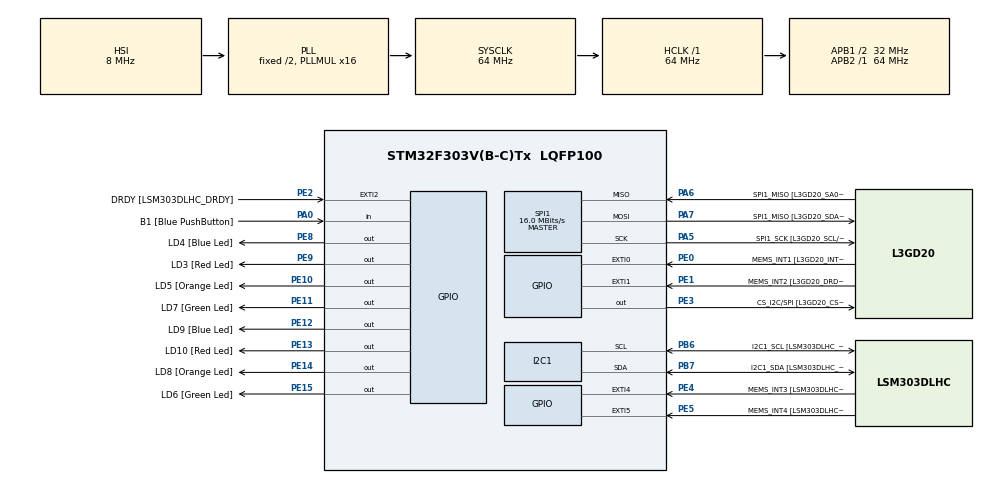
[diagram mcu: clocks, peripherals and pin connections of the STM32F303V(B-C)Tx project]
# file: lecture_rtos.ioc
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FREERTOS.Tasks01=defaultTask,0,128,StartDefaultTask,Default,NULL,Dynamic,NULL,NULL;mainTask,2,128,StartMainTask,Default,NULL,Dynamic,NULL,NULL
FREERTOS.configTOTAL_HEAP_SIZE=15360
FREERTOS.configUSE_PREEMPTION=1
I2C1.Timing-I2C=0x2000090E
Mcu.Family=STM32F3
Mcu.Name=STM32F303V(B-C)Tx
Mcu.Package=LQFP100
NVIC.PriorityGroup=NVIC_PRIORITYGROUP_4
NVIC.TIM1_TRG_COM_TIM17_IRQn=true\:0\:0\:false\:false\:true\:false\:false
NVIC.TimeBase=TIM1_TRG_COM_TIM17_IRQn
NVIC.TimeBaseIP=TIM17
PA0.GPIO_Label=B1 [Blue PushButton]
PA0.Signal=GPIO_Input
PA11.GPIO_Label=DM
PA11.Signal=USB_DM
PA12.GPIO_Label=DP
PA12.Signal=USB_DP
PA13.GPIO_Label=SWDIO
PA13.Mode=Serial_Wire
PA13.Signal=SYS_JTMS-SWDIO
PA14.GPIO_Label=SWCLK
PA14.Mode=Serial_Wire
PA14.Signal=SYS_JTCK-SWCLK
PA5.GPIO_Label=SPI1_SCK [L3GD20_SCL/SPC]
PA5.Mode=Full_Duplex_Master
PA5.Signal=SPI1_SCK
PA6.GPIO_Label=SPI1_MISO [L3GD20_SA0/SDO]
PA6.Mode=Full_Duplex_Master
PA6.Signal=SPI1_MISO
PA7.GPIO_Label=SPI1_MISO [L3GD20_SDA/SDI/SDO]
PA7.Mode=Full_Duplex_Master
PA7.Signal=SPI1_MOSI
PB3.GPIO_Label=SWO
PB3.Signal=SYS_JTDO-TRACESWO
PB6.GPIO_Label=I2C1_SCL [LSM303DLHC_SCL]
PB6.Mode=I2C
PB6.Signal=I2C1_SCL
PB7.GPIO_Label=I2C1_SDA [LSM303DLHC_SDA]
PB7.Mode=I2C
PB7.Signal=I2C1_SDA
PC14-OSC32_IN.GPIO_Label=OSC32_IN
PC14-OSC32_IN.Signal=RCC_OSC32_IN
PC15-OSC32_OUT.GPIO_Label=OSC32_OUT
PC15-OSC32_OUT.Signal=RCC_OSC32_OUT
PE0.GPIO_Label=MEMS_INT1 [L3GD20_INT1]
PE0.GPIO_ModeDefaultEXTI=GPIO_MODE_EVT_RISING
PE0.Signal=GPXTI0
PE1.GPIO_Label=MEMS_INT2 [L3GD20_DRDY/INT2]
PE1.GPIO_ModeDefaultEXTI=GPIO_MODE_EVT_RISING
PE1.Signal=GPXTI1
PE10.GPIO_Label=LD5 [Orange Led]
PE10.Signal=GPIO_Output
PE11.GPIO_Label=LD7 [Green Led]
PE11.Signal=GPIO_Output
PE12.GPIO_Label=LD9 [Blue Led]
PE12.Signal=GPIO_Output
PE13.GPIO_Label=LD10 [Red Led]
PE13.Signal=GPIO_Output
PE14.GPIO_Label=LD8 [Orange Led]
PE14.Signal=GPIO_Output
PE15.GPIO_Label=LD6 [Green Led]
PE15.Signal=GPIO_Output
PE2.GPIO_Label=DRDY [LSM303DLHC_DRDY]
PE2.GPIO_ModeDefaultEXTI=GPIO_MODE_EVT_RISING
PE2.Signal=GPXTI2
PE3.GPIO_Label=CS_I2C/SPI [L3GD20_CS_I2C/SPI]
PE3.Signal=GPIO_Output
PE4.GPIO_Label=MEMS_INT3 [LSM303DLHC_INT1]
PE4.GPIO_ModeDefaultEXTI=GPIO_MODE_EVT_RISING
PE4.Signal=GPXTI4
PE5.GPIO_Label=MEMS_INT4 [LSM303DLHC_INT2]
PE5.GPIO_ModeDefaultEXTI=GPIO_MODE_EVT_RISING
PE5.Signal=GPXTI5
PE8.GPIO_Label=LD4 [Blue Led]
PE8.Signal=GPIO_Output
PE9.GPIO_Label=LD3 [Red Led]
PE9.Signal=GPIO_Output
PF0-OSC_IN.GPIO_Label=OSC_IN
PF0-OSC_IN.Signal=RCC_OSC_IN
PF1-OSC_OUT.GPIO_Label=OSC_OUT
PF1-OSC_OUT.Signal=RCC_OSC_OUT
ProjectManager.HeapSize=0x200
ProjectManager.StackSize=0x400
ProjectManager.TargetToolchain=MDK-ARM V5
RCC.AHBFreq_Value=64000000
RCC.APB1CLKDivider=RCC_HCLK_DIV2
RCC.APB1Freq_Value=32000000
RCC.APB1TimFreq_Value=64000000
RCC.APB2Freq_Value=64000000
RCC.APB2TimFreq_Value=64000000
RCC.CortexFreq_Value=64000000
RCC.HCLKFreq_Value=64000000
RCC.HSE_VALUE=8000000
RCC.HSI_VALUE=8000000
RCC.LSE_VALUE=32768
RCC.PLLMUL=RCC_PLL_MUL16
RCC.SYSCLKFreq_VALUE=64000000
RCC.SYSCLKSourceVirtual=RCC_SYSCLKSOURCE_PLLCLK
RCC.USBFreq_Value=64000000
SPI1.BaudRatePrescaler=SPI_BAUDRATEPRESCALER_4
SPI1.BaudRatePrescaler-Full_Duplex_Master=SPI_BAUDRATEPRESCALER_2
SPI1.CalculateBaudRate=16.0 MBits/s
SPI1.CalculateBaudRate-Full_Duplex_Master=24.0 MBits/s
SPI1.Direction=SPI_DIRECTION_2LINES
SPI1.Mode=SPI_MODE_MASTER
SPI1.Mode-Full_Duplex_Master=SPI_MODE_MASTER
SPI1.VirtualType=VM_MASTER
VP_FREERTOS_VS_ENABLE.Mode=Enabled
VP_SYS_VS_tim17.Mode=TIM17
board=STM32F3DISCOVERY

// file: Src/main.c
/**
  ******************************************************************************
  * @file           : main.c
  * @brief          : Main program body
  ******************************************************************************
  * This notice applies to any and all portions of this file
  * that are not between comment pairs USER CODE BEGIN and
  * USER CODE END. Other portions of this file, whether
  * inserted by the user or by software development tools
  * are owned by their respective copyright owners.
  *
  * Copyright (c) 2018 STMicroelectronics International N.V.
  * All rights reserved.
  *
  * Redistribution and use in source and binary forms, with or without
  * modification, are permitted, provided that the following conditions are met:
  *
  * 1. Redistribution of source code must retain the above copyright notice,
  *    this list of conditions and the following disclaimer.
  * 2. Redistributions in binary form must reproduce the above copyright notice,
  *    this list of conditions and the following disclaimer in the documentation
  *    and/or other materials provided with the distribution.
  * 3. Neither the name of STMicroelectronics nor the names of other
  *    contributors to this software may be used to endorse or promote products
  *    derived from this software without specific written permission.
  * 4. This software, including modifications and/or derivative works of this
  *    software, must execute solely and exclusively on microcontroller or
  *    microprocessor devices manufactured by or for STMicroelectronics.
  * 5. Redistribution and use of this software other than as permitted under
  *    this license is void and will automatically terminate your rights under
  *    this license.
  *
  * THIS SOFTWARE IS PROVIDED BY STMICROELECTRONICS AND CONTRIBUTORS "AS IS"
  * AND ANY EXPRESS, IMPLIED OR STATUTORY WARRANTIES, INCLUDING, BUT NOT
  * LIMITED TO, THE IMPLIED WARRANTIES OF MERCHANTABILITY, FITNESS FOR A
  * PARTICULAR PURPOSE AND NON-INFRINGEMENT OF THIRD PARTY INTELLECTUAL PROPERTY
  * RIGHTS ARE DISCLAIMED TO THE FULLEST EXTENT PERMITTED BY LAW. IN NO EVENT
  * SHALL STMICROELECTRONICS OR CONTRIBUTORS BE LIABLE FOR ANY DIRECT, INDIRECT,
  * INCIDENTAL, SPECIAL, EXEMPLARY, OR CONSEQUENTIAL DAMAGES (INCLUDING, BUT NOT
  * LIMITED TO, PROCUREMENT OF SUBSTITUTE GOODS OR SERVICES; LOSS OF USE, DATA,
  * OR PROFITS; OR BUSINESS INTERRUPTION) HOWEVER CAUSED AND ON ANY THEORY OF
  * LIABILITY, WHETHER IN CONTRACT, STRICT LIABILITY, OR TORT (INCLUDING
  * NEGLIGENCE OR OTHERWISE) ARISING IN ANY WAY OUT OF THE USE OF THIS SOFTWARE,
  * EVEN IF ADVISED OF THE POSSIBILITY OF SUCH DAMAGE.
  *
  ******************************************************************************
  */
#include "main.h"
#include "stm32f3xx_hal.h"
#include "cmsis_os.h"
#include "i2c.h"
#include "spi.h"
#include "gpio.h"

/* USER CODE BEGIN PV */
/* Private variables ---------------------------------------------------------*/

/* USER CODE END PV */

void SystemClock_Config(void);
void MX_FREERTOS_Init(void);

/* USER CODE BEGIN PFP */
/* Private function prototypes -----------------------------------------------*/

/* USER CODE END PFP */

int main(void)
{

  /* MCU Configuration----------------------------------------------------------*/

  /* Reset of all peripherals, Initializes the Flash interface and the Systick. */
  HAL_Init();

  /* Configure the system clock */
  SystemClock_Config();

  /* Initialize all configured peripherals */
  MX_GPIO_Init();
  MX_I2C1_Init();
  MX_SPI1_Init();

  /* Call init function for freertos objects (in freertos.c) */
  MX_FREERTOS_Init();

  /* Start scheduler */
  osKernelStart();

  /* We should never get here as control is now taken by the scheduler */

  /* Infinite loop */
  while (1)
  {

  }

}

void SystemClock_Config(void)
{

  RCC_OscInitTypeDef RCC_OscInitStruct;
  RCC_ClkInitTypeDef RCC_ClkInitStruct;
  RCC_PeriphCLKInitTypeDef PeriphClkInit;

    /**Initializes the CPU, AHB and APB busses clocks
    */
  RCC_OscInitStruct.OscillatorType = RCC_OSCILLATORTYPE_HSI;
  RCC_OscInitStruct.HSIState = RCC_HSI_ON;
  RCC_OscInitStruct.HSICalibrationValue = 16;
  RCC_OscInitStruct.PLL.PLLState = RCC_PLL_ON;
  RCC_OscInitStruct.PLL.PLLSource = RCC_PLLSOURCE_HSI;
  RCC_OscInitStruct.PLL.PLLMUL = RCC_PLL_MUL16;
  if (HAL_RCC_OscConfig(&RCC_OscInitStruct) != HAL_OK)
  {
    _Error_Handler(__FILE__, __LINE__);
  }

    /**Initializes the CPU, AHB and APB busses clocks
    */
  RCC_ClkInitStruct.ClockType = RCC_CLOCKTYPE_HCLK|RCC_CLOCKTYPE_SYSCLK
                              |RCC_CLOCKTYPE_PCLK1|RCC_CLOCKTYPE_PCLK2;
  RCC_ClkInitStruct.SYSCLKSource = RCC_SYSCLKSOURCE_PLLCLK;
  RCC_ClkInitStruct.AHBCLKDivider = RCC_SYSCLK_DIV1;
  RCC_ClkInitStruct.APB1CLKDivider = RCC_HCLK_DIV2;
  RCC_ClkInitStruct.APB2CLKDivider = RCC_HCLK_DIV1;

  if (HAL_RCC_ClockConfig(&RCC_ClkInitStruct, FLASH_LATENCY_2) != HAL_OK)
  {
    _Error_Handler(__FILE__, __LINE__);
  }

  PeriphClkInit.PeriphClockSelection = RCC_PERIPHCLK_I2C1;
  PeriphClkInit.I2c1ClockSelection = RCC_I2C1CLKSOURCE_HSI;
  if (HAL_RCCEx_PeriphCLKConfig(&PeriphClkInit) != HAL_OK)
  {
    _Error_Handler(__FILE__, __LINE__);
  }

    /**Configure the Systick interrupt time
    */
  HAL_SYSTICK_Config(HAL_RCC_GetHCLKFreq()/1000);

    /**Configure the Systick
    */
  HAL_SYSTICK_CLKSourceConfig(SYSTICK_CLKSOURCE_HCLK);

  /* SysTick_IRQn interrupt configuration */
  HAL_NVIC_SetPriority(SysTick_IRQn, 15, 0);
}

void HAL_TIM_PeriodElapsedCallback(TIM_HandleTypeDef *htim)
{
  if (htim->Instance == TIM17) {
    HAL_IncTick();
  }
}

void _Error_Handler(char *file, int line)
{
  while(1)
  {
  }
}

/************************ (C) COPYRIGHT STMicroelectronics *****END OF FILE****/

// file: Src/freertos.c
/* USER CODE BEGIN Header */
/**
  ******************************************************************************
  * File Name          : freertos.c
  * Description        : Code for freertos applications
  ******************************************************************************
  * This notice applies to any and all portions of this file
  * that are not between comment pairs USER CODE BEGIN and
  * USER CODE END. Other portions of this file, whether
  * inserted by the user or by software development tools
  * are owned by their respective copyright owners.
  *
  * Copyright (c) 2018 STMicroelectronics International N.V.
  * All rights reserved.
  *
  * Redistribution and use in source and binary forms, with or without
  * modification, are permitted, provided that the following conditions are met:
  *
  * 1. Redistribution of source code must retain the above copyright notice,
  *    this list of conditions and the following disclaimer.
  * 2. Redistributions in binary form must reproduce the above copyright notice,
  *    this list of conditions and the following disclaimer in the documentation
  *    and/or other materials provided with the distribution.
  * 3. Neither the name of STMicroelectronics nor the names of other
  *    contributors to this software may be used to endorse or promote products
  *    derived from this software without specific written permission.
  * 4. This software, including modifications and/or derivative works of this
  *    software, must execute solely and exclusively on microcontroller or
  *    microprocessor devices manufactured by or for STMicroelectronics.
  * 5. Redistribution and use of this software other than as permitted under
  *    this license is void and will automatically terminate your rights under
  *    this license.
  *
  * THIS SOFTWARE IS PROVIDED BY STMICROELECTRONICS AND CONTRIBUTORS "AS IS"
  * AND ANY EXPRESS, IMPLIED OR STATUTORY WARRANTIES, INCLUDING, BUT NOT
  * LIMITED TO, THE IMPLIED WARRANTIES OF MERCHANTABILITY, FITNESS FOR A
  * PARTICULAR PURPOSE AND NON-INFRINGEMENT OF THIRD PARTY INTELLECTUAL PROPERTY
  * RIGHTS ARE DISCLAIMED TO THE FULLEST EXTENT PERMITTED BY LAW. IN NO EVENT
  * SHALL STMICROELECTRONICS OR CONTRIBUTORS BE LIABLE FOR ANY DIRECT, INDIRECT,
  * INCIDENTAL, SPECIAL, EXEMPLARY, OR CONSEQUENTIAL DAMAGES (INCLUDING, BUT NOT
  * LIMITED TO, PROCUREMENT OF SUBSTITUTE GOODS OR SERVICES; LOSS OF USE, DATA,
  * OR PROFITS; OR BUSINESS INTERRUPTION) HOWEVER CAUSED AND ON ANY THEORY OF
  * LIABILITY, WHETHER IN CONTRACT, STRICT LIABILITY, OR TORT (INCLUDING
  * NEGLIGENCE OR OTHERWISE) ARISING IN ANY WAY OUT OF THE USE OF THIS SOFTWARE,
  * EVEN IF ADVISED OF THE POSSIBILITY OF SUCH DAMAGE.
  *
  ******************************************************************************
  */
/* USER CODE END Header */

#include "FreeRTOS.h"
#include "task.h"
#include "main.h"
#include "cmsis_os.h"

/* USER CODE BEGIN Includes */
#include "gpio.h"

/* USER CODE END Includes */

/* USER CODE BEGIN Variables */
TaskHandle_t slaveTaskHandle;

/* USER CODE END Variables */
osThreadId defaultTaskHandle;
osThreadId mainTaskHandle;

/* USER CODE BEGIN FunctionPrototypes */
void StartSlaveTask(void * argument);

/* USER CODE END FunctionPrototypes */

void StartDefaultTask(void const * argument);
void StartMainTask(void const * argument);

void MX_FREERTOS_Init(void); /* (MISRA C 2004 rule 8.1) */

void MX_FREERTOS_Init(void) {

  /* Create the thread(s) */
  /* definition and creation of defaultTask */
  osThreadDef(defaultTask, StartDefaultTask, osPriorityNormal, 0, 128);
  defaultTaskHandle = osThreadCreate(osThread(defaultTask), NULL);

  /* definition and creation of mainTask */
  osThreadDef(mainTask, StartMainTask, osPriorityHigh, 0, 128);
  mainTaskHandle = osThreadCreate(osThread(mainTask), NULL);

}

void StartDefaultTask(void const * argument)
{

  /* USER CODE BEGIN StartDefaultTask */
  /* Infinite loop */
  for(;;)
  {
    //osDelay(1000u);
		LED_ON(ORANGE2_LED);
		vTaskDelay(250u);
  }
  /* USER CODE END StartDefaultTask */
}

void StartMainTask(void const * argument)
{
  /* USER CODE BEGIN StartMainTask */
	BaseType_t xReturned;

	//Create task
	xReturned = xTaskCreate(StartSlaveTask, "Slave task", 128, NULL, tskIDLE_PRIORITY, &slaveTaskHandle);
	//Wait for some time
	vTaskDelay(5000u);
	//Delete task
	vTaskDelete(slaveTaskHandle);

	LED_ON(GREEN1_LED);

	//Create task again
	xReturned = xTaskCreate(StartSlaveTask, "Slave task", 128, NULL, tskIDLE_PRIORITY, &slaveTaskHandle);
	vTaskDelay(3000u);
	//Change priority of the external task
	vTaskPrioritySet(slaveTaskHandle, tskIDLE_PRIORITY+1);
	//Change priority of this task
	vTaskPrioritySet(NULL, tskIDLE_PRIORITY+1);
	//Delete task again
	vTaskDelete(slaveTaskHandle);

	LED_ON(BLUE2_LED);

  /* Infinite loop */
  for(;;)
  {
		//Enter infinity loop and blink LED to inform task is ended
		LED_TOGGLE(GREEN2_LED);
    vTaskDelay(1000u);
  }
  /* USER CODE END StartMainTask */
}

/* USER CODE BEGIN Application */
void StartSlaveTask(void * argument)
{
	LED_ON(ORANGE1_LED);
	for(;;)
	{
		LED_TOGGLE(ORANGE1_LED);
		LED_TOGGLE(RED1_LED);
		vTaskDelay(200u);
	}
}

/* USER CODE END Application */

/************************ (C) COPYRIGHT STMicroelectronics *****END OF FILE****/
